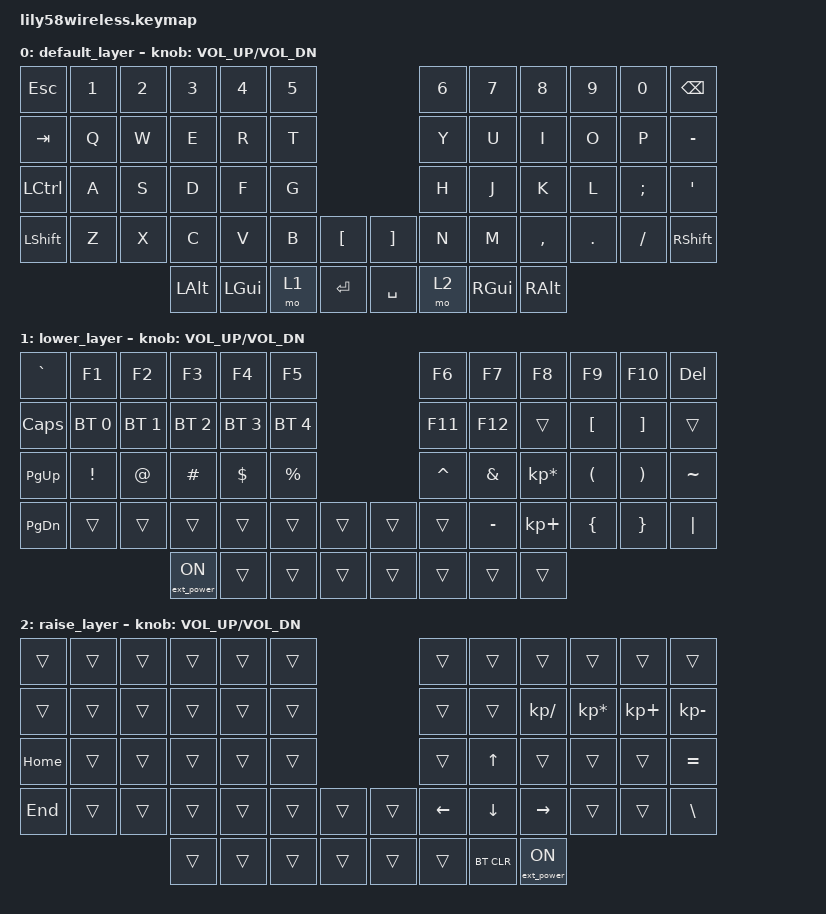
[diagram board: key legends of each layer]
/*
 * Copyright (c) 2020 The ZMK Contributors
 *
 * SPDX-License-Identifier: MIT
 */

#include <behaviors.dtsi>
#include <dt-bindings/zmk/keys.h>
#include <dt-bindings/zmk/bt.h>
#include <dt-bindings/zmk/ext_power.h>

/ {
	keymap {
		compatible = "zmk,keymap";

		default_layer {
// ------------------------------------------------------------------------------------------------------------
// |  ESC  |  1  |  2  |  3   |  4   |  5   |                   |  6   |  7    |  8    |  9   |   0   |   `   |
// |  TAB  |  Q  |  W  |  E   |  R   |  T   |                   |  Y   |  U    |  I    |  O   |   P   |   -   |
// |  CTRL |  A  |  S  |  D   |  F   |  G   |                   |  H   |  J    |  K    |  L   |   ;   |   '   |
// | SHIFT |  Z  |  X  |  C   |  V   |  B   |   "["  |  |  "]"  |  N   |  M    |  ,    |  .   |   /   | SHIFT |
//                     | ALT  | GUI  | LOWER|  SPACE |  | ENTER | RAISE|  GUI  | ALT   |
			bindings = <
&kp ESC   &kp N1 &kp N2 &kp N3   &kp N4   &kp N5                     &kp N6 &kp N7   &kp N8    &kp N9  &kp N0   &kp BSPC
&kp TAB   &kp Q  &kp W  &kp E    &kp R    &kp T                      &kp Y  &kp U    &kp I     &kp O   &kp P    &kp MINUS
&kp LCTRL &kp A  &kp S  &kp D    &kp F    &kp G                      &kp H  &kp J    &kp K     &kp L   &kp SEMI &kp SQT
&kp LSHFT &kp Z  &kp X  &kp C    &kp V    &kp B  &kp LBKT   &kp RBKT &kp N  &kp M    &kp COMMA &kp DOT &kp FSLH &kp RSHFT
                        &kp LALT &kp LGUI &mo 1  &kp RET  &kp SPACE  &mo 2  &kp RGUI &kp RALT
			>;

			sensor-bindings = <&inc_dec_kp C_VOL_UP C_VOL_DN>;
		};

		lower_layer {
// ------------------------------------------------------------------------------------------------------------
// |   `   |  F1 |  F2 |  F3  |  F4  |  F5  |                   |  F6  |  F7   |   F8  |  F9  |  F10  |  DEL  |
// | CAPS  | BT1 | BT2 |  BT3 |  BT4 |  BT5 |                   | F11  |  F12  |       |  [   |   ]   |       |
// | PG_UP |  !  |  @  |  #   |  $   |  %   |                   |  ^   |  &    |  *    |  (   |   )   |   ~   |
// | PG_DN |     |     |      |      |      |        |  |       |      |  _    |  +    |  {   |   }   |  "|"  |
//                     |      |      |      |        |  |       |      |       |       |
			bindings = <
&kp GRAVE  &kp F1     &kp F2           &kp F3            &kp F4            &kp F5       &kp F6                       &kp F7    &kp F8    &kp F9          &kp F10   &kp DEL
&kp CAPSLOCK &bt BT_SEL 0     &bt BT_SEL 1      &bt BT_SEL 2      &bt BT_SEL 3 &bt BT_SEL 4                 &kp F11    &kp F12    &trans          &kp LBKT   &kp RBKT    &trans
&kp PG_UP  &kp EXCL         &kp AT            &kp HASH          &kp DOLLAR   &kp PRCNT                    &kp CARET &kp AMPS  &kp KP_MULTIPLY &kp LPAR  &kp RPAR  &kp TILDE
&kp PG_DN    &trans &trans &trans &trans       &trans    &trans   &trans    &trans    &kp MINUS &kp KP_PLUS     &kp LBRC  &kp RBRC  &kp PIPE
                                              &ext_power EP_ON            &trans       &trans    &trans   &trans    &trans    &trans    &trans
			>;

			sensor-bindings = <&inc_dec_kp C_VOL_UP C_VOL_DN>;
		};

		raise_layer {
// ------------------------------------------------------------------------------------------------------------
// |       |     |     |      |      |      |                   |      |       |       |      |       |       |
// |       |     |     |      |      |      |                   |      |       |   /   |   *  |   +   |   -   |
// |  HOME |     |     |      |      |      |                   |      |   ^   |       |      |       | EQUAL |
// |  END  |     |     |      |      |      |        |  |       |  <-  |   v   |   ->  |      |       |   \   |
//                     |      |      |      |        |  |       |      |  BTCLR|       |
			bindings = <
&trans    &trans &trans &trans  &trans  &trans                       &trans      &trans    &trans    &trans   &trans    &trans
&trans    &trans &trans &trans  &trans  &trans                       &trans      &trans    &kp KP_DIVIDE    &kp KP_MULTIPLY   &kp KP_PLUS    &kp KP_SUBTRACT
&kp HOME  &trans &trans &trans  &trans  &trans                       &trans      &kp UP    &trans    &trans   &trans    &kp EQUAL
&kp END   &trans &trans &trans  &trans  &trans    &trans   &trans    &kp LEFT    &kp DOWN  &kp RIGHT &trans   &trans    &kp BSLH
                        &trans  &trans  &trans    &trans   &trans    &trans      &bt BT_CLR &ext_power EP_ON
			>;

			sensor-bindings = <&inc_dec_kp C_VOL_UP C_VOL_DN>;
		};
	};
};
